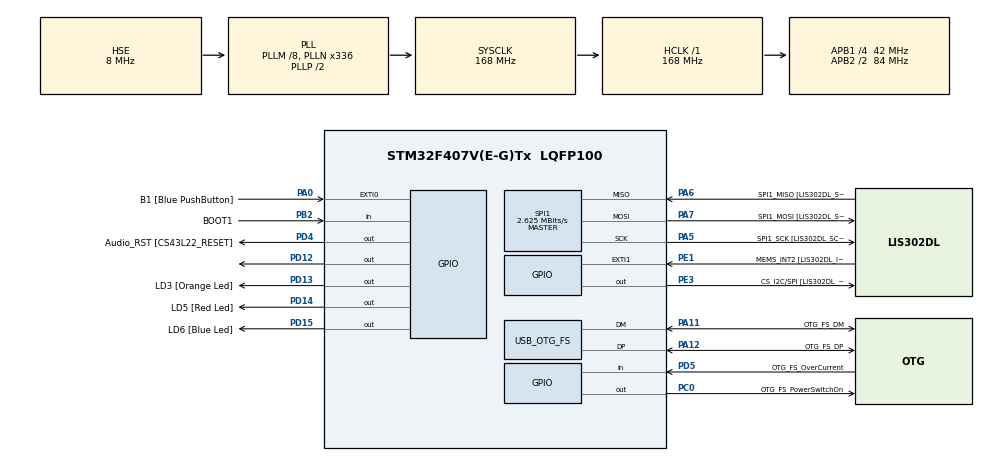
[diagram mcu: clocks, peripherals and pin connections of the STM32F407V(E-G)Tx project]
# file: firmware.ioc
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Mcu.Family=STM32F4
Mcu.Name=STM32F407V(E-G)Tx
Mcu.Package=LQFP100
NVIC.OTG_FS_IRQn=true\:0\:0\:false\:false\:true\:false\:true\:true
NVIC.PriorityGroup=NVIC_PRIORITYGROUP_0
PA0-WKUP.GPIO_Label=B1 [Blue PushButton]
PA0-WKUP.Signal=GPXTI0
PA10.GPIO_Label=OTG_FS_ID
PA10.GPIO_Mode=GPIO_MODE_AF_PP
PA10.GPIO_PuPd=GPIO_NOPULL
PA10.GPIO_Speed=GPIO_SPEED_FREQ_LOW
PA10.Signal=USB_OTG_FS_ID
PA11.GPIO_Label=OTG_FS_DM
PA11.GPIO_Mode=GPIO_MODE_AF_PP
PA11.GPIO_PuPd=GPIO_NOPULL
PA11.GPIO_Speed=GPIO_SPEED_FREQ_LOW
PA11.Mode=Device_Only
PA11.Signal=USB_OTG_FS_DM
PA12.GPIO_Label=OTG_FS_DP
PA12.GPIO_Mode=GPIO_MODE_AF_PP
PA12.GPIO_PuPd=GPIO_NOPULL
PA12.GPIO_Speed=GPIO_SPEED_FREQ_LOW
PA12.Mode=Device_Only
PA12.Signal=USB_OTG_FS_DP
PA13.GPIO_Label=SWDIO
PA13.Signal=SYS_JTMS-SWDIO
PA14.GPIO_Label=SWCLK
PA14.Signal=SYS_JTCK-SWCLK
PA4.GPIO_Label=I2S3_WS [CS43L22_LRCK]
PA4.GPIO_Mode=GPIO_MODE_AF_PP
PA4.GPIO_PuPd=GPIO_NOPULL
PA4.GPIO_Speed=GPIO_SPEED_FREQ_LOW
PA4.Signal=I2S3_WS
PA5.GPIO_Label=SPI1_SCK [LIS302DL_SCL/SPC]
PA5.GPIO_Mode=GPIO_MODE_AF_PP
PA5.GPIO_PuPd=GPIO_NOPULL
PA5.GPIO_Speed=GPIO_SPEED_FREQ_VERY_HIGH
PA5.Mode=Full_Duplex_Master
PA5.Signal=SPI1_SCK
PA6.GPIO_Label=SPI1_MISO [LIS302DL_SDO]
PA6.GPIO_Mode=GPIO_MODE_AF_PP
PA6.GPIO_PuPd=GPIO_NOPULL
PA6.GPIO_Speed=GPIO_SPEED_FREQ_VERY_HIGH
PA6.Mode=Full_Duplex_Master
PA6.Signal=SPI1_MISO
PA7.GPIO_Label=SPI1_MOSI [LIS302DL_SDA/SDI/SDO]
PA7.GPIO_Mode=GPIO_MODE_AF_PP
PA7.GPIO_PuPd=GPIO_NOPULL
PA7.GPIO_Speed=GPIO_SPEED_FREQ_VERY_HIGH
PA7.Mode=Full_Duplex_Master
PA7.Signal=SPI1_MOSI
PA9.GPIO_Label=VBUS_FS
PA9.GPIO_Mode=GPIO_MODE_INPUT
PA9.GPIO_PuPd=GPIO_NOPULL
PA9.Signal=USB_OTG_FS_VBUS
PB10.GPIO_Label=CLK_IN [MP45DT02_CLK]
PB10.GPIO_Mode=GPIO_MODE_AF_PP
PB10.GPIO_PuPd=GPIO_NOPULL
PB10.GPIO_Speed=GPIO_SPEED_FREQ_LOW
PB10.Signal=I2S2_CK
PB2.GPIO_Label=BOOT1
PB2.GPIO_Mode=GPIO_MODE_INPUT
PB2.GPIO_PuPd=GPIO_NOPULL
PB2.Signal=GPIO_Input
PB3.GPIO_Label=SWO
PB3.Signal=SYS_JTDO-SWO
PB6.GPIO_Label=Audio_SCL [CS43L22_SCL]
PB6.GPIO_Mode=GPIO_MODE_AF_OD
PB6.GPIO_PuPd=GPIO_NOPULL
PB6.GPIO_Speed=GPIO_SPEED_FREQ_LOW
PB6.Signal=I2C1_SCL
PB9.GPIO_Label=Audio_SDA [CS43L22_SDA]
PB9.GPIO_Mode=GPIO_MODE_AF_OD
PB9.GPIO_PuPd=GPIO_NOPULL
PB9.GPIO_Speed=GPIO_SPEED_FREQ_LOW
PB9.Signal=I2C1_SDA
PC0.GPIO_Label=OTG_FS_PowerSwitchOn
PC0.GPIO_PuPd=GPIO_NOPULL
PC0.GPIO_Speed=GPIO_SPEED_FREQ_LOW
PC0.PinState=GPIO_PIN_SET
PC0.Signal=GPIO_Output
PC10.GPIO_Label=I2S3_SCK [CS43L22_SCLK]
PC10.GPIO_Mode=GPIO_MODE_AF_PP
PC10.GPIO_PuPd=GPIO_NOPULL
PC10.GPIO_Speed=GPIO_SPEED_FREQ_LOW
PC10.Signal=I2S3_CK
PC12.GPIO_Label=I2S3_SD [CS43L22_SDIN]
PC12.GPIO_Mode=GPIO_MODE_AF_PP
PC12.GPIO_PuPd=GPIO_NOPULL
PC12.GPIO_Speed=GPIO_SPEED_FREQ_LOW
PC12.Signal=I2S3_SD
PC14-OSC32_IN.GPIO_Label=PC14-OSC32_IN
PC14-OSC32_IN.Signal=RCC_OSC32_IN
PC15-OSC32_OUT.GPIO_Label=PC15-OSC32_OUT
PC15-OSC32_OUT.Signal=RCC_OSC32_OUT
PC3.GPIO_Label=PDM_OUT [MP45DT02_DOUT]
PC3.GPIO_Mode=GPIO_MODE_AF_PP
PC3.GPIO_PuPd=GPIO_NOPULL
PC3.GPIO_Speed=GPIO_SPEED_FREQ_LOW
PC3.Signal=I2S2_SD
PC7.GPIO_Label=I2S3_MCK [CS43L22_MCLK]
PC7.GPIO_Mode=GPIO_MODE_AF_PP
PC7.GPIO_PuPd=GPIO_NOPULL
PC7.GPIO_Speed=GPIO_SPEED_FREQ_LOW
PC7.Signal=I2S3_MCK
PD12.Signal=GPIO_Output
PD13.GPIO_Label=LD3 [Orange Led]
PD13.GPIO_PuPd=GPIO_NOPULL
PD13.GPIO_Speed=GPIO_SPEED_FREQ_LOW
PD13.Signal=GPIO_Output
PD14.GPIO_Label=LD5 [Red Led]
PD14.GPIO_PuPd=GPIO_NOPULL
PD14.GPIO_Speed=GPIO_SPEED_FREQ_LOW
PD14.Signal=GPIO_Output
PD15.GPIO_Label=LD6 [Blue Led]
PD15.GPIO_PuPd=GPIO_NOPULL
PD15.GPIO_Speed=GPIO_SPEED_FREQ_LOW
PD15.Signal=GPIO_Output
PD4.GPIO_Label=Audio_RST [CS43L22_RESET]
PD4.GPIO_PuPd=GPIO_NOPULL
PD4.GPIO_Speed=GPIO_SPEED_FREQ_LOW
PD4.Signal=GPIO_Output
PD5.GPIO_Label=OTG_FS_OverCurrent
PD5.GPIO_Mode=GPIO_MODE_INPUT
PD5.GPIO_PuPd=GPIO_NOPULL
PD5.Signal=GPIO_Input
PE1.GPIO_Label=MEMS_INT2 [LIS302DL_INT2]
PE1.GPIO_ModeDefaultEXTI=GPIO_MODE_EVT_RISING
PE1.GPIO_PuPd=GPIO_NOPULL
PE1.Signal=GPXTI1
PE3.GPIO_Label=CS_I2C/SPI [LIS302DL_CS_I2C/SPI]
PE3.GPIO_PuPd=GPIO_NOPULL
PE3.GPIO_Speed=GPIO_SPEED_FREQ_LOW
PE3.Signal=GPIO_Output
PH0-OSC_IN.GPIO_Label=PH0-OSC_IN
PH0-OSC_IN.Mode=HSE-External-Oscillator
PH0-OSC_IN.Signal=RCC_OSC_IN
PH1-OSC_OUT.GPIO_Label=PH1-OSC_OUT
PH1-OSC_OUT.Mode=HSE-External-Oscillator
PH1-OSC_OUT.Signal=RCC_OSC_OUT
ProjectManager.HeapSize=0x400
ProjectManager.StackSize=0x800
ProjectManager.TargetToolchain=STM32CubeIDE
RCC.48MHZClocksFreq_Value=48000000
RCC.AHBFreq_Value=168000000
RCC.APB1CLKDivider=RCC_HCLK_DIV4
RCC.APB1Freq_Value=42000000
RCC.APB1TimFreq_Value=84000000
RCC.APB2CLKDivider=RCC_HCLK_DIV2
RCC.APB2Freq_Value=84000000
RCC.APB2TimFreq_Value=168000000
RCC.CortexFreq_Value=168000000
RCC.HCLKFreq_Value=168000000
RCC.HSE_VALUE=8000000
RCC.HSI_VALUE=16000000
RCC.LSE_VALUE=32768
RCC.PLLM=8
RCC.PLLN=336
RCC.PLLQ=7
RCC.PLLSourceVirtual=RCC_PLLSOURCE_HSE
RCC.SYSCLKFreq_VALUE=168000000
RCC.SYSCLKSource=RCC_SYSCLKSOURCE_PLLCLK
RCC.VCOOutputFreq_Value=336000000
SPI1.BaudRatePrescaler=SPI_BAUDRATEPRESCALER_32
SPI1.CLKPhase=SPI_PHASE_1EDGE
SPI1.CLKPolarity=SPI_POLARITY_LOW
SPI1.CalculateBaudRate=2.625 MBits/s
SPI1.Direction=SPI_DIRECTION_2LINES
SPI1.Mode=SPI_MODE_MASTER
SPI1.VirtualType=VM_MASTER
USB_DEVICE.CLASS_NAME_FS=CDC
USB_DEVICE.VirtualMode-CDC_FS=Cdc
USB_DEVICE.VirtualModeFS=Cdc_FS
USB_OTG_FS.VirtualMode=Device_Only
VP_USB_DEVICE_VS_USB_DEVICE_CDC_FS.Mode=CDC_FS
board=STM32F407G-DISC1

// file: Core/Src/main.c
/* USER CODE BEGIN Header */
/**
  ******************************************************************************
  * @file           : main.c
  * @brief          : Main program body
  ******************************************************************************
  * @attention
  *
  * Copyright (c) 2026 STMicroelectronics.
  * All rights reserved.
  *
  * This software is licensed under terms that can be found in the LICENSE file
  * in the root directory of this software component.
  * If no LICENSE file comes with this software, it is provided AS-IS.
  *
  ******************************************************************************
  */
/* USER CODE END Header */
#include "main.h"
#include "usb_device.h"

SPI_HandleTypeDef hspi1;

/* USER CODE BEGIN PV */
volatile uint8_t who_am_i = 0;
volatile uint8_t sensor_ok = 0;
volatile uint8_t altered_ctrl_reg4 = 0;
int16_t ax, ay, az;

/* USER CODE END PV */

void SystemClock_Config(void);
static void MX_GPIO_Init(void);
static void MX_SPI1_Init(void);

/* USER CODE BEGIN 0 */
#define LIS_ON()   HAL_GPIO_WritePin(GPIOE, GPIO_PIN_3, GPIO_PIN_RESET) /*sets low*/
#define LIS_OFF()  HAL_GPIO_WritePin(GPIOE, GPIO_PIN_3, GPIO_PIN_SET)  /*sets high*/

#define WHO_AM_I_REG        0x0F
#define WHO_AM_I_LIS3DSH    0x3F

#define CTRL_REG4  0x20
#define CTRL_write 0x6F
#define OUT_X_L 0x28

static uint8_t read_reg(uint8_t reg)
{
    uint8_t tx[2] = { (uint8_t)(reg | 0x80), 0x00 };
    uint8_t rx[2] = { 0 };

    LIS_ON();
    HAL_SPI_TransmitReceive(&hspi1, tx, rx, 2, HAL_MAX_DELAY);
    LIS_OFF();

    return rx[1];
}

static void write_reg(uint8_t reg, uint8_t value)
{
	uint8_t tx[2] = { (uint8_t)(reg), value };

	LIS_ON();
	HAL_SPI_Transmit(&hspi1, tx, 2, HAL_MAX_DELAY);
	LIS_OFF();
}

static void read_xyz(int16_t *x, int16_t *y, int16_t *z)
{
	uint8_t tx[7] = { (uint8_t)(OUT_X_L | 0x80), 0,0,0,0,0,0 };
	uint8_t rx[7] = { 0 };

	LIS_ON();
	HAL_SPI_TransmitReceive(&hspi1, tx, rx, 7, HAL_MAX_DELAY);
	LIS_OFF();

	*x = (int16_t)(rx[1] | (rx[2] << 8));
	*y = (int16_t)(rx[3] | (rx[4] << 8));
	*z = (int16_t)(rx[5] | (rx[6] << 8));
}

/* USER CODE END 0 */

int main(void)
{

  /* MCU Configuration--------------------------------------------------------*/

  /* Reset of all peripherals, Initializes the Flash interface and the Systick. */
  HAL_Init();

  /* Configure the system clock */
  SystemClock_Config();

  /* Initialize all configured peripherals */
  MX_GPIO_Init();
  MX_SPI1_Init();
  MX_USB_DEVICE_Init();
  /* USER CODE BEGIN 2 */
  HAL_GPIO_WritePin(GPIOE, GPIO_PIN_3, GPIO_PIN_SET);
  HAL_Delay(100);

  HAL_Delay(10);
  who_am_i = read_reg(WHO_AM_I_REG);

  if (who_am_i == WHO_AM_I_LIS3DSH) {
	  HAL_GPIO_WritePin(GPIOD, GPIO_PIN_15, GPIO_PIN_SET);
	  sensor_ok = 1;
  } else {
	  HAL_GPIO_WritePin(GPIOD, GPIO_PIN_14, GPIO_PIN_SET);
	  sensor_ok = 0;
  }

  write_reg(CTRL_REG4, CTRL_write);
  HAL_Delay(10);

  altered_ctrl_reg4 = read_reg(CTRL_REG4);

  if (altered_ctrl_reg4 == CTRL_write) {
	  HAL_GPIO_WritePin(GPIOD, GPIO_PIN_12, GPIO_PIN_SET);
  } else {
  	  HAL_GPIO_WritePin(GPIOD, GPIO_PIN_13, GPIO_PIN_SET);
  }

  read_xyz(&ax, &ay, &az);

  /* USER CODE END 2 */

  /* Infinite loop */
  while (1)
  {

  }
}

void SystemClock_Config(void)
{
  RCC_OscInitTypeDef RCC_OscInitStruct = {0};
  RCC_ClkInitTypeDef RCC_ClkInitStruct = {0};

  /** Configure the main internal regulator output voltage
  */
  __HAL_RCC_PWR_CLK_ENABLE();
  __HAL_PWR_VOLTAGESCALING_CONFIG(PWR_REGULATOR_VOLTAGE_SCALE1);

  /** Initializes the RCC Oscillators according to the specified parameters
  * in the RCC_OscInitTypeDef structure.
  */
  RCC_OscInitStruct.OscillatorType = RCC_OSCILLATORTYPE_HSE;
  RCC_OscInitStruct.HSEState = RCC_HSE_ON;
  RCC_OscInitStruct.PLL.PLLState = RCC_PLL_ON;
  RCC_OscInitStruct.PLL.PLLSource = RCC_PLLSOURCE_HSE;
  RCC_OscInitStruct.PLL.PLLM = 8;
  RCC_OscInitStruct.PLL.PLLN = 336;
  RCC_OscInitStruct.PLL.PLLP = RCC_PLLP_DIV2;
  RCC_OscInitStruct.PLL.PLLQ = 7;
  if (HAL_RCC_OscConfig(&RCC_OscInitStruct) != HAL_OK)
  {
    Error_Handler();
  }

  /** Initializes the CPU, AHB and APB buses clocks
  */
  RCC_ClkInitStruct.ClockType = RCC_CLOCKTYPE_HCLK|RCC_CLOCKTYPE_SYSCLK
                              |RCC_CLOCKTYPE_PCLK1|RCC_CLOCKTYPE_PCLK2;
  RCC_ClkInitStruct.SYSCLKSource = RCC_SYSCLKSOURCE_PLLCLK;
  RCC_ClkInitStruct.AHBCLKDivider = RCC_SYSCLK_DIV1;
  RCC_ClkInitStruct.APB1CLKDivider = RCC_HCLK_DIV4;
  RCC_ClkInitStruct.APB2CLKDivider = RCC_HCLK_DIV2;

  if (HAL_RCC_ClockConfig(&RCC_ClkInitStruct, FLASH_LATENCY_5) != HAL_OK)
  {
    Error_Handler();
  }
}

static void MX_SPI1_Init(void)
{

  /* SPI1 parameter configuration*/
  hspi1.Instance = SPI1;
  hspi1.Init.Mode = SPI_MODE_MASTER;
  hspi1.Init.Direction = SPI_DIRECTION_2LINES;
  hspi1.Init.DataSize = SPI_DATASIZE_8BIT;
  hspi1.Init.CLKPolarity = SPI_POLARITY_LOW;
  hspi1.Init.CLKPhase = SPI_PHASE_1EDGE;
  hspi1.Init.NSS = SPI_NSS_SOFT;
  hspi1.Init.BaudRatePrescaler = SPI_BAUDRATEPRESCALER_32;
  hspi1.Init.FirstBit = SPI_FIRSTBIT_MSB;
  hspi1.Init.TIMode = SPI_TIMODE_DISABLE;
  hspi1.Init.CRCCalculation = SPI_CRCCALCULATION_DISABLE;
  hspi1.Init.CRCPolynomial = 10;
  if (HAL_SPI_Init(&hspi1) != HAL_OK)
  {
    Error_Handler();
  }

}

static void MX_GPIO_Init(void)
{
  GPIO_InitTypeDef GPIO_InitStruct = {0};

  /* GPIO Ports Clock Enable */
  __HAL_RCC_GPIOE_CLK_ENABLE();
  __HAL_RCC_GPIOC_CLK_ENABLE();
  __HAL_RCC_GPIOH_CLK_ENABLE();
  __HAL_RCC_GPIOA_CLK_ENABLE();
  __HAL_RCC_GPIOB_CLK_ENABLE();
  __HAL_RCC_GPIOD_CLK_ENABLE();

  /*Configure GPIO pin Output Level */
  HAL_GPIO_WritePin(CS_I2C_SPI_GPIO_Port, CS_I2C_SPI_Pin, GPIO_PIN_RESET);

  /*Configure GPIO pin Output Level */
  HAL_GPIO_WritePin(OTG_FS_PowerSwitchOn_GPIO_Port, OTG_FS_PowerSwitchOn_Pin, GPIO_PIN_SET);

  /*Configure GPIO pin Output Level */
  HAL_GPIO_WritePin(GPIOD, GPIO_PIN_12|LD3_Pin|LD5_Pin|LD6_Pin
                          |Audio_RST_Pin, GPIO_PIN_RESET);

  /*Configure GPIO pin : CS_I2C_SPI_Pin */
  GPIO_InitStruct.Pin = CS_I2C_SPI_Pin;
  GPIO_InitStruct.Mode = GPIO_MODE_OUTPUT_PP;
  GPIO_InitStruct.Pull = GPIO_NOPULL;
  GPIO_InitStruct.Speed = GPIO_SPEED_FREQ_LOW;
  HAL_GPIO_Init(CS_I2C_SPI_GPIO_Port, &GPIO_InitStruct);

  /*Configure GPIO pin : OTG_FS_PowerSwitchOn_Pin */
  GPIO_InitStruct.Pin = OTG_FS_PowerSwitchOn_Pin;
  GPIO_InitStruct.Mode = GPIO_MODE_OUTPUT_PP;
  GPIO_InitStruct.Pull = GPIO_NOPULL;
  GPIO_InitStruct.Speed = GPIO_SPEED_FREQ_LOW;
  HAL_GPIO_Init(OTG_FS_PowerSwitchOn_GPIO_Port, &GPIO_InitStruct);

  /*Configure GPIO pin : PDM_OUT_Pin */
  GPIO_InitStruct.Pin = PDM_OUT_Pin;
  GPIO_InitStruct.Mode = GPIO_MODE_AF_PP;
  GPIO_InitStruct.Pull = GPIO_NOPULL;
  GPIO_InitStruct.Speed = GPIO_SPEED_FREQ_LOW;
  GPIO_InitStruct.Alternate = GPIO_AF5_SPI2;
  HAL_GPIO_Init(PDM_OUT_GPIO_Port, &GPIO_InitStruct);

  /*Configure GPIO pin : B1_Pin */
  GPIO_InitStruct.Pin = B1_Pin;
  GPIO_InitStruct.Mode = GPIO_MODE_IT_RISING;
  GPIO_InitStruct.Pull = GPIO_NOPULL;
  HAL_GPIO_Init(B1_GPIO_Port, &GPIO_InitStruct);

  /*Configure GPIO pin : I2S3_WS_Pin */
  GPIO_InitStruct.Pin = I2S3_WS_Pin;
  GPIO_InitStruct.Mode = GPIO_MODE_AF_PP;
  GPIO_InitStruct.Pull = GPIO_NOPULL;
  GPIO_InitStruct.Speed = GPIO_SPEED_FREQ_LOW;
  GPIO_InitStruct.Alternate = GPIO_AF6_SPI3;
  HAL_GPIO_Init(I2S3_WS_GPIO_Port, &GPIO_InitStruct);

  /*Configure GPIO pin : BOOT1_Pin */
  GPIO_InitStruct.Pin = BOOT1_Pin;
  GPIO_InitStruct.Mode = GPIO_MODE_INPUT;
  GPIO_InitStruct.Pull = GPIO_NOPULL;
  HAL_GPIO_Init(BOOT1_GPIO_Port, &GPIO_InitStruct);

  /*Configure GPIO pin : CLK_IN_Pin */
  GPIO_InitStruct.Pin = CLK_IN_Pin;
  GPIO_InitStruct.Mode = GPIO_MODE_AF_PP;
  GPIO_InitStruct.Pull = GPIO_NOPULL;
  GPIO_InitStruct.Speed = GPIO_SPEED_FREQ_LOW;
  GPIO_InitStruct.Alternate = GPIO_AF5_SPI2;
  HAL_GPIO_Init(CLK_IN_GPIO_Port, &GPIO_InitStruct);

  /*Configure GPIO pins : PD12 LD3_Pin LD5_Pin LD6_Pin
                           Audio_RST_Pin */
  GPIO_InitStruct.Pin = GPIO_PIN_12|LD3_Pin|LD5_Pin|LD6_Pin
                          |Audio_RST_Pin;
  GPIO_InitStruct.Mode = GPIO_MODE_OUTPUT_PP;
  GPIO_InitStruct.Pull = GPIO_NOPULL;
  GPIO_InitStruct.Speed = GPIO_SPEED_FREQ_LOW;
  HAL_GPIO_Init(GPIOD, &GPIO_InitStruct);

  /*Configure GPIO pins : I2S3_MCK_Pin I2S3_SCK_Pin I2S3_SD_Pin */
  GPIO_InitStruct.Pin = I2S3_MCK_Pin|I2S3_SCK_Pin|I2S3_SD_Pin;
  GPIO_InitStruct.Mode = GPIO_MODE_AF_PP;
  GPIO_InitStruct.Pull = GPIO_NOPULL;
  GPIO_InitStruct.Speed = GPIO_SPEED_FREQ_LOW;
  GPIO_InitStruct.Alternate = GPIO_AF6_SPI3;
  HAL_GPIO_Init(GPIOC, &GPIO_InitStruct);

  /*Configure GPIO pin : OTG_FS_OverCurrent_Pin */
  GPIO_InitStruct.Pin = OTG_FS_OverCurrent_Pin;
  GPIO_InitStruct.Mode = GPIO_MODE_INPUT;
  GPIO_InitStruct.Pull = GPIO_NOPULL;
  HAL_GPIO_Init(OTG_FS_OverCurrent_GPIO_Port, &GPIO_InitStruct);

  /*Configure GPIO pins : Audio_SCL_Pin Audio_SDA_Pin */
  GPIO_InitStruct.Pin = Audio_SCL_Pin|Audio_SDA_Pin;
  GPIO_InitStruct.Mode = GPIO_MODE_AF_OD;
  GPIO_InitStruct.Pull = GPIO_NOPULL;
  GPIO_InitStruct.Speed = GPIO_SPEED_FREQ_LOW;
  GPIO_InitStruct.Alternate = GPIO_AF4_I2C1;
  HAL_GPIO_Init(GPIOB, &GPIO_InitStruct);

  /*Configure GPIO pin : MEMS_INT2_Pin */
  GPIO_InitStruct.Pin = MEMS_INT2_Pin;
  GPIO_InitStruct.Mode = GPIO_MODE_EVT_RISING;
  GPIO_InitStruct.Pull = GPIO_NOPULL;
  HAL_GPIO_Init(MEMS_INT2_GPIO_Port, &GPIO_InitStruct);

}

void Error_Handler(void)
{
  __disable_irq();
  while (1)
  {
  }
}
